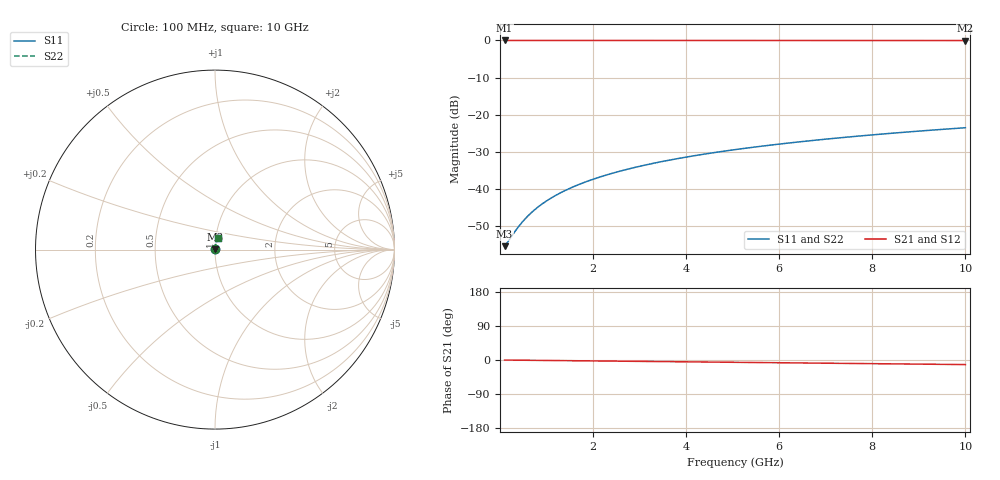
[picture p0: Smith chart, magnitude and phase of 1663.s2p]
# Hz S RI R 50.00
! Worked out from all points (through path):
!   100 points, 100 MHz to 10 GHz, reference 50 ohm
!   highest |S21| = -0.01 dB at 100 MHz (marker M1); lowest = 0.0 dB at 10 GHz (marker M2)
!   group delay of S21, straight-line fit = 3.36 ps
!   lowest |S11| = -55.4 dB at 100 MHz (marker M3), VSWR 1.00, Z = 50.2 + j0.0669 ohm
!   |S11| at or under -10 dB: start of sweep to end of sweep
!   |S22| runs from -55.4 to -23.5 dB; largest |S21 - S12| = 0
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1e8  0.00156 0.000667  0.9984 -0.0021  0.9984 -0.0021  0.00156 0.000667
2e8  0.00157 0.00133  0.9984 -0.0042  0.9984 -0.0042  0.00157 0.00133
3e8  0.00159 0.002  0.9984 -0.00629  0.9984 -0.00629  0.00159 0.002
4e8  0.0016 0.00267  0.9984 -0.00839  0.9984 -0.00839  0.0016 0.00267
5e8  0.00162 0.00333  0.9983 -0.0105  0.9983 -0.0105  0.00162 0.00333
6e8  0.00164 0.004  0.9983 -0.0126  0.9983 -0.0126  0.00164 0.004
7e8  0.00166 0.00467  0.9983 -0.0147  0.9983 -0.0147  0.00166 0.00467
8e8  0.00168 0.00533  0.9982 -0.0168  0.9982 -0.0168  0.00168 0.00533
1e9  0.00174 0.00666  0.9981 -0.021  0.9981 -0.021  0.00174 0.00666
1.2e9  0.00181 0.008  0.998 -0.0252  0.998 -0.0252  0.00181 0.008
1.5e9  0.00193 0.00999  0.9978 -0.0315  0.9978 -0.0315  0.00193 0.00999
1.8e9  0.00207 0.012  0.9976 -0.0378  0.9976 -0.0378  0.00207 0.012
2.1e9  0.00224 0.014  0.9973 -0.044  0.9973 -0.044  0.00224 0.014
2.5e9  0.0025 0.0166  0.9968 -0.0524  0.9968 -0.0524  0.0025 0.0166
2.9e9  0.00281 0.0193  0.9963 -0.0608  0.9963 -0.0608  0.00281 0.0193
3.4e9  0.00326 0.0226  0.9955 -0.0713  0.9955 -0.0713  0.00326 0.0226
4.2e9  0.00412 0.0278  0.994 -0.088  0.994 -0.088  0.00412 0.0278
5.1e9  0.0053 0.0337  0.992 -0.1068  0.992 -0.1068  0.0053 0.0337
5.9e9  0.00653 0.0389  0.9898 -0.1235  0.9898 -0.1235  0.00653 0.0389
6.7e9  0.00794 0.0441  0.9873 -0.1402  0.9873 -0.1402  0.00794 0.0441
8.4e9  0.0115 0.0549  0.9811 -0.1755  0.9811 -0.1755  0.0115 0.0549
1e10  0.0156 0.0648  0.9739 -0.2085  0.9739 -0.2085  0.0156 0.0648
